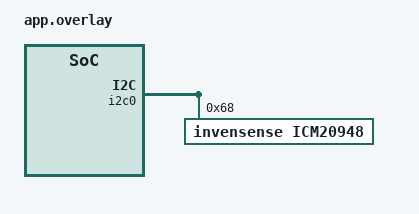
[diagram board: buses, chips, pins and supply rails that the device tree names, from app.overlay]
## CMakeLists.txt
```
#-------------------------------------------------------------------------------
# Zephyr Example Application
#
# Copyright (c) 2021 Nordic Semiconductor ASA
# SPDX-License-Identifier: Apache-2.0

cmake_minimum_required(VERSION 3.20.0)
set(ZEPHYR_EXTRA_MODULES "{CMAKE_SOURCE_DIR}/../../modules/lib/zscilib")
list(APPEND ZEPHYR_EXTRA_MODULES
  ${CMAKE_CURRENT_SOURCE_DIR}/drivers
)

find_package(Zephyr REQUIRED HINTS $ENV{ZEPHYR_BASE})

project(app LANGUAGES C)
 
target_sources(app PRIVATE src/main.c)
#target_sources(app PRIVATE util/data.c)
#target_include_directories(app PRIVATE util)
```

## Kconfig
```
# Copyright (c) 2021 Nordic Semiconductor ASA
# SPDX-License-Identifier: Apache-2.0
#
# This Kconfig file is picked by the Zephyr build system because it is defined
# as the module Kconfig entry point (see zephyr/module.yml). You can browse
# module options by going to Zephyr -> Modules in Kconfig.

menu "Zephyr"
source "Kconfig.zephyr"
endmenu

rsource "drivers/Kconfig"
```

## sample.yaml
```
# This file is provided so that the application can be compiled using Twister,
# the Zephyr testing tool. In this file, multiple combinations can be specified,
# so that you can easily test all of them locally or in CI.
sample:
  description: Example application
  name: example-application 
common:
  build_only: true
tests:
  app.default: {}
  app.debug:
    extra_overlay_confs:
      - debug.conf
```

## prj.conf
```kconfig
# Copyright (c) 2021 Nordic Semiconductor ASA
# SPDX-License-Identifier: Apache-2.0
#
# This file contains selected Kconfig options for the application.

CONFIG_LOG=y
CONFIG_I2C=y

CONFIG_FPU=y
CONFIG_THREAD_RUNTIME_STATS=y
CONFIG_NEWLIB_LIBC=y
CONFIG_NEWLIB_LIBC_FLOAT_PRINTF=y
CONFIG_SENSOR=y
CONFIG_ICM20948=y
CONFIG_ZSL=y
CONFIG_MAIN_STACK_SIZE=8196

# debug 
CONFIG_DEBUG=y
CONFIG_THREAD_MONITOR=y
CONFIG_DEBUG_THREAD_INFO=y
#CONFIG_DEBUG_OPTIMIZATIONS=y
```

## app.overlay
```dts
/*
 * Copyright (c) 2019 Nordic Semiconductor ASA
 *
 * SPDX-License-Identifier: Apache-2.0
 */

&i2c0 {
	status = "okay";
	
	icm20948@68 {
		compatible = "invensense,icm20948";
		reg = <0x68>;
		status = "okay";
	};
};
```

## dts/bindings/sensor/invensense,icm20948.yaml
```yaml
# Copyright (c) 2020 TDK Invensense
# SPDX-License-Identifier: Apache-2.0

description: ICM-20948 motion tracking device

# ICM-20948 is I2C.
compatible: "invensense,icm20948"

include: [sensor-device.yaml, i2c-device.yaml]
```

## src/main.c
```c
/*
 * Copyright (c) 2012-2014 Wind River Systems, Inc.
 *
 * SPDX-License-Identifier: Apache-2.0
 */

#include <stdio.h>
#include "../util/data.c"

int main(void)
{
	printf("Kalman filter START\n");
	fusion_init(&kalm_drv);
	
	while (1)
	{
		fusion_demo(&kalm_drv);
	}
	return 0;
}
```
